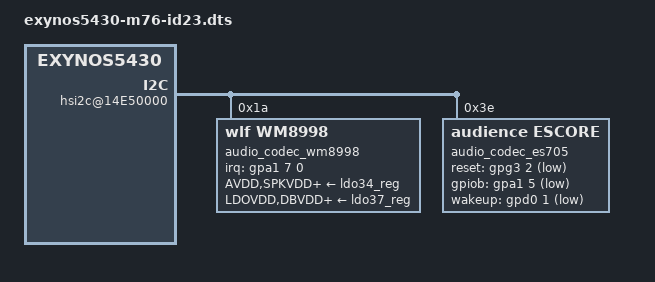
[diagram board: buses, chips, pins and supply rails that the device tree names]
/*
 * MEIZU M76 board device tree source
 *
 * Copyright (c) 2014 Meizu Technology Co., Ltd.
 *              http://www.meizu.com
 *
 * This program is free software; you can redistribute it and/or modify
 * it under the terms of the GNU General Public License version 2 as
 * published by the Free Software Foundation.
 *
 * board id support 4bit: 0010
 * board version support: v7
*/

/dts-v1/;
#include "exynos5430-m76.dtsi"

/ {

    hsi2c@14E50000 {
                   status = "okay";
                   samsung,i2c-sda-delay = <100>;
                   samsung,i2c-max-bus-freq = <400000>;

                   audio_codec_wm8998: audio-codec-wm8998@1a {
                            compatible = "wlf,wm8998";
                            reg = <0x1a>;
                            interrupts = <7 0 0>;
                            interrupt-parent = <&gpa1>;

                            wlf,reset = <&gpg3 5 1>;
                            wlf,ldoena = <&gpv7 4 1>;
                            wlf,micd-ranges = <105 226 /* KEY_MEDIA */
                                        270 115 /* KEY_VOLUMEUP */
                                        752 114 /* KEY_VOLUMEDOWN */ >;
                            wlf,micd-configs = <0 1 0>;
                            wlf,micbias1 = <2600 0 1 0 0>;
                            wlf,micbias2 = <1800 0 1 0 0>;
                            wlf,micbias3 = <1800 0 1 0 0>;
                            wlf,clk32k-src = <2>; /* MCLK2 */
                            wlf,micd-detect-debounce = <500>;
                            wlf,micd-bias-start-time = <9>;
                            wlf,micd-rate = <5>;
                            wlf,micd-dbtime = <1>;
                            wlf,micd-force-micbias = <1>;
                            wlf,micd-open-circuit-declare = <1>;
                            pinctrl-names = "default";
                            pinctrl-0 = <&wm8998_reset &wm8998_ldoena &wm8998_irq>;

                            AVDD-supply = <&ldo34_reg>; /* AVDD18 */
                            LDOVDD-supply = <&ldo37_reg>; /* DVDD18 */
                            DBVDD-supply = <&ldo37_reg>; /* DVDD18 */
                            DBVDD1-supply = <&ldo37_reg>; /* DVDD18 */
                            DBVDD2-supply = <&ldo37_reg>; /* DVDD18 */
                            DBVDD3-supply = <&ldo37_reg>; /* DVDD18 */
                            CPVDD-supply = <&ldo37_reg>; /* DVDD18 */
                            SPKVDD-supply = <&ldo34_reg>; /* AVDD18 */
                            SPKVDDL-supply = <&ldo34_reg>; /* AVDD18 */
                            SPKVDDR-supply = <&ldo34_reg>; /* AVDD18 */
                   };

                   audio_codec_es705: audio-codec-es705@3e {
                            compatible = "audience,escore";
                            reg = <0x3e>;
                            adnc,reset-gpio = <&gpg3 2 1>;
                            adnc,gpiob-gpio = <&gpa1 5 0xf>;
                            adnc,wakeup-gpio = <&gpd0 1 1>;
                            adnc,ext_clk_rate = <9>;       /* mclk: 24MHz */
                            adnc,enable_hs_uart_intf = <1>;
                            adnc,hs_uart_baud = <3000000>;
                            pinctrl-names = "default";
                            pinctrl-0 = <&es705_reset &es705_irq &es705_wakeup>;
                   };
         };
	
};
